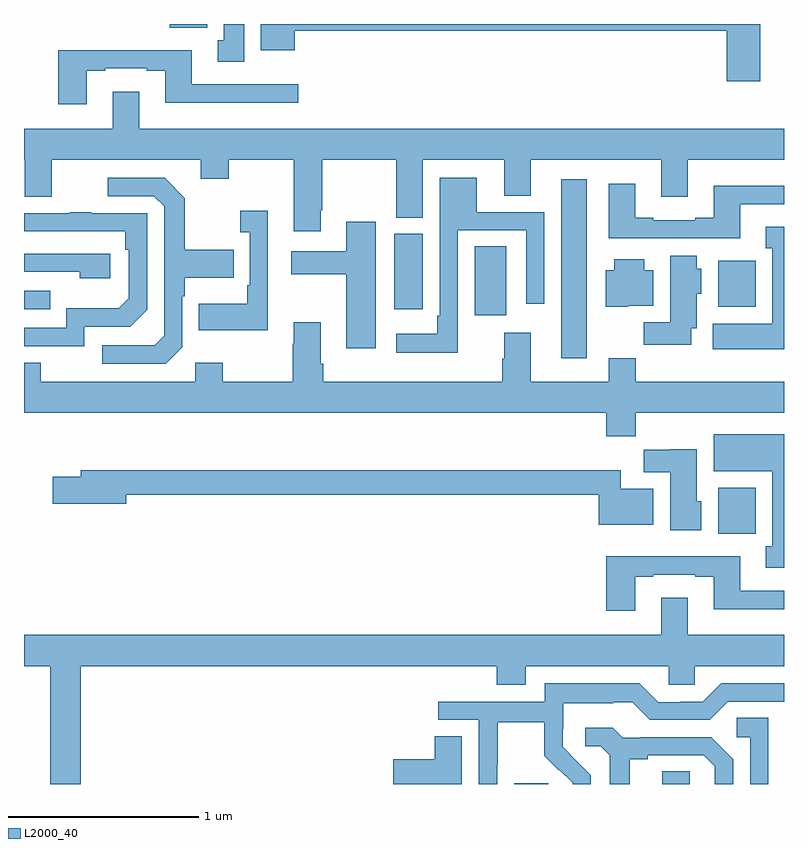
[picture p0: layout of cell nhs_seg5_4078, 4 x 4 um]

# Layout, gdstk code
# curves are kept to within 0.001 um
import gdstk
lib = gdstk.Library(unit=1e-6, precision=1e-09)
def R(c, l, rs):  # rectangles x0, y0, x1, y1
    for r in rs: c.add(gdstk.rectangle(r[:2], r[2:], *l))
def P(c, l, *ps):  # polygons
    for p in ps: c.add(gdstk.Polygon(p, *l))
L2000_40 = (2000, 40)

nhs_seg5_4078 = lib.new_cell('nhs_seg5_4078')
R(nhs_seg5_4078, L2000_40, [(353.579,862.799,353.758,862.803), (354.359,862.799,354.504,862.865), (354.653,864.116,354.85,864.358), (353.828,865.041,353.962,865.981), (353.372,865.266,353.539,865.628), (351,865.299,351.137,865.395), (352.949,865.299,353.098,865.695), (354.653,865.31,354.85,865.552), (351.767,866.78,351.964,866.799)])
P(nhs_seg5_4078, L2000_40, [(354.876,866.799),(352.247,866.799),(352.247,866.66),(352.426,866.66),(352.426,866.764),(354.698,866.764),(354.698,866.499),(354.876,866.499)],
  [(352.159,866.799),(352.052,866.799),(352.052,866.714),(352.019,866.714),(352.019,866.601),(352.159,866.601)],
  [(351.331,866.553),(351.427,866.553),(351.427,866.565),(351.647,866.565),(351.647,866.553),(351.743,866.553),(351.743,866.384),(352.444,866.384),(352.444,866.481),(351.883,866.481),(351.883,866.662),(351.179,866.662),(351.179,866.376),(351.331,866.376)],
  [(351.467,866.443),(351.467,866.248),(351,866.248),(351,866.084),(351.005,866.084),(351.005,865.89),(351.145,865.89),(351.145,866.084),(351.929,866.084),(351.929,865.985),(352.077,865.985),(352.077,866.084),(352.421,866.084),(352.421,865.707),(352.561,865.707),(352.561,865.819),(352.569,865.819),(352.569,866.084),(352.96,866.084),(352.96,865.78),(353.098,865.78),(353.098,866.084),(353.528,866.084),(353.528,865.894),(353.668,865.894),(353.668,866.084),(354.353,866.084),(354.353,865.89),(354.493,865.89),(354.493,866.084),(355,866.084),(355,866.248),(351.607,866.248),(351.607,866.443)],
  [(353.283,865.713),(353.643,865.713),(353.643,865.326),(353.739,865.326),(353.739,865.809),(353.383,865.809),(353.383,865.99),(353.187,865.99),(353.187,865.264),(353.175,865.264),(353.175,865.168),(352.959,865.168),(352.959,865.07),(353.283,865.07)],
  [(351.834,865.098),(351.834,865.367),(351.847,865.367),(351.847,865.463),(352.103,865.463),(352.103,865.611),(351.847,865.611),(351.847,865.883),(351.741,865.989),(351.441,865.989),(351.441,865.893),(351.684,865.893),(351.738,865.839),(351.738,865.158),(351.687,865.107),(351.411,865.107),(351.411,865.011),(351.747,865.011)],
  [(354.769,865.851),(355,865.851),(355,865.948),(354.629,865.948),(354.629,865.78),(354.533,865.78),(354.533,865.767),(354.313,865.767),(354.313,865.78),(354.217,865.78),(354.217,865.957),(354.077,865.957),(354.077,865.671),(354.769,865.671)],
  [(352.284,865.816),(352.137,865.816),(352.137,865.703),(352.188,865.703),(352.188,865.423),(352.176,865.423),(352.176,865.327),(351.919,865.327),(351.919,865.187),(352.284,865.187)],
  [(351.318,865.206),(351.558,865.206),(351.648,865.296),(351.648,865.803),(351.353,865.803),(351.353,865.808),(351.241,865.808),(351.241,865.803),(351,865.803),(351,865.707),(351.532,865.707),(351.532,865.61),(351.552,865.61),(351.552,865.356),(351.499,865.303),(351.222,865.303),(351.222,865.2),(351,865.2),(351,865.104),(351.318,865.104)],
  [(352.852,865.759),(352.697,865.759),(352.697,865.603),(352.407,865.603),(352.407,865.481),(352.697,865.481),(352.697,865.092),(352.852,865.092)],
  [(355,865.732),(354.905,865.732),(354.905,865.619),(354.938,865.619),(354.938,865.222),(354.626,865.222),(354.626,865.088),(355,865.088)],
  [(351.454,865.59),(351,865.59),(351,865.494),(351.293,865.494),(351.293,865.46),(351.454,865.46)],
  [(354.511,865.199),(354.541,865.199),(354.541,865.38),(354.565,865.38),(354.565,865.512),(354.541,865.512),(354.541,865.579),(354.401,865.579),(354.401,865.228),(354.262,865.228),(354.262,865.11),(354.511,865.11)],
  [(354.18,865.316),(354.313,865.316),(354.313,865.504),(354.265,865.504),(354.265,865.561),(354.107,865.561),(354.107,865.504),(354.062,865.504),(354.062,865.31),(354.18,865.31)],
  [(354.221,864.752),(355,864.752),(355,864.916),(354.221,864.916),(354.221,865.04),(354.077,865.04),(354.077,864.916),(353.668,864.916),(353.668,865.174),(353.528,865.174),(353.528,865.037),(353.516,865.037),(353.516,864.916),(352.574,864.916),(352.574,865.012),(352.561,865.012),(352.561,865.228),(352.421,865.228),(352.421,865.115),(352.414,865.115),(352.414,864.916),(352.047,864.916),(352.047,865.015),(351.9,865.015),(351.9,864.916),(351.087,864.916),(351.087,865.015),(351,865.015),(351,864.752),(354.065,864.752),(354.065,864.628),(354.221,864.628)],
  [(355,864.64),(354.629,864.64),(354.629,864.446),(354.938,864.446),(354.938,864.05),(354.905,864.05),(354.905,863.937),(355,863.937)],
  [(354.565,864.288),(354.541,864.288),(354.541,864.562),(354.405,864.562),(354.405,864.558),(354.262,864.558),(354.262,864.44),(354.401,864.44),(354.401,864.134),(354.565,864.134)],
  [(354.313,864.352),(354.141,864.352),(354.141,864.451),(351.299,864.451),(351.299,864.417),(351.15,864.417),(351.15,864.275),(351.538,864.275),(351.538,864.322),(354.025,864.322),(354.025,864.164),(354.313,864.164)],
  [(354.217,863.889),(354.313,863.889),(354.313,863.901),(354.533,863.901),(354.533,863.889),(354.629,863.889),(354.629,863.72),(355,863.72),(355,863.817),(354.769,863.817),(354.769,863.998),(354.065,863.998),(354.065,863.712),(354.217,863.712)],
  [(351.299,863.42),(353.489,863.42),(353.489,863.321),(353.641,863.321),(353.641,863.42),(354.393,863.42),(354.393,863.322),(354.531,863.322),(354.531,863.42),(355,863.42),(355,863.584),(354.493,863.584),(354.493,863.779),(354.353,863.779),(354.353,863.584),(351,863.584),(351,863.42),(351.139,863.42),(351.139,862.799),(351.299,862.799)],
  [(353.49,862.9),(353.493,862.9),(353.493,863.124),(353.737,863.124),(353.737,862.949),(353.814,862.872),(353.817,862.875),(353.888,862.805),(353.888,862.799),(353.982,862.799),(353.982,862.846),(353.836,862.994),(353.836,863.091),(353.838,863.091),(353.838,863.225),(354.101,863.225),(354.101,863.229),(354.201,863.229),(354.294,863.136),(354.609,863.136),(354.705,863.232),(355,863.232),(355,863.328),(354.669,863.328),(354.573,863.232),(354.455,863.232),(354.455,863.229),(354.339,863.229),(354.239,863.329),(353.742,863.329),(353.742,863.232),(353.181,863.232),(353.181,863.136),(353.394,863.136),(353.394,862.799),(353.49,862.799)],
  [(354.918,863.147),(354.75,863.147),(354.75,863.046),(354.822,863.046),(354.822,862.799),(354.918,862.799)],
  [(354.187,862.928),(354.283,862.928),(354.283,862.95),(354.578,862.95),(354.635,862.893),(354.635,862.799),(354.732,862.799),(354.732,862.93),(354.616,863.046),(354.244,863.046),(354.244,863.043),(354.15,863.043),(354.098,863.095),(353.955,863.095),(353.955,862.998),(354.036,862.998),(354.083,862.951),(354.083,862.799),(354.187,862.799)],
  [(353.305,863.051),(353.162,863.051),(353.162,862.928),(352.944,862.928),(352.944,862.799),(353.305,862.799)])

lib.write_gds('nhs_seg5_4078.gds')
